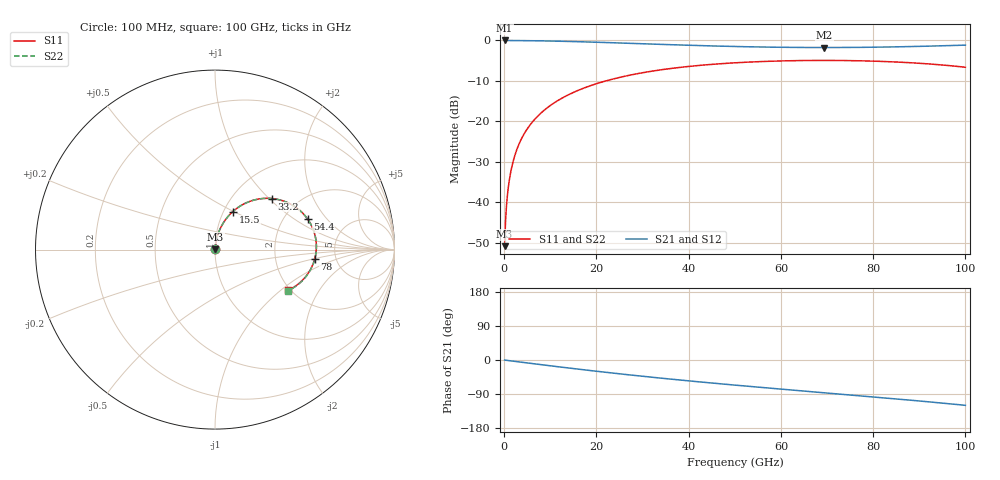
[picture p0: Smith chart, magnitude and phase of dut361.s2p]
! Touchstone file exported from HFSS 2026.1.0
!  File:  C:/ffzhzh/LocalFiles/Ansys_Project_Files/temp_train_RDL_361_1783503389_55944.aedt
!  Generated:  05:37:41 PM Jul  8, 2026
!  Design:  RDL
!  Project:  temp_train_RDL_361_1783503389_55944
! Variables:
!  h_bsmrdl = 2um
!  h_ox = 20um
!  h_rdl = 5um
!  h_sub = 80um
!  h_tmrdl = 3.01um
!  h_tsv = 80um
!  h_via = 3um
!  l_bsmrdl = 300um
!  l_sub = 796.43um
!  l_tmrdl = 396.43um
!  m_sub = 200um
!  pitch = 52.19um
!  r_tsv = 6um
!  s_tmrdl = 10um
!  w_bsmrdl = 18um
!  w_sub = 500um
!  w_tmrdl = 23.51um
!  x_tsv_center1 = 408.185um
!  x_tsv_center2 = 726.185um
!  x_tsv_center3 = 1146.125um
!  x_tsv_center4 = 1464.125um
!  x_tsv_center5 = 1884.065um
!  x_tsv_center6 = 2202.065um
# GHz S MA R 50.000000
! Terminal data exported
! Port[1] = TM_RDL1_1_T1
! Port[2] = TM_RDL1_1_T2
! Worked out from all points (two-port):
!   1000 points, 100 MHz to 100 GHz, reference 50 ohm
!   highest |S21| = -0.02 dB at 100 MHz (marker M1); lowest = -1.8 dB at 69.4 GHz (marker M2)
!   |S21| within 3 dB of the highest: start of sweep to end of sweep
!   lowest |S11| = -50.9 dB at 100 MHz (marker M3), VSWR 1.01, Z = 50.2 + j0.179 ohm
!   |S11| at or under -10 dB: start of sweep to 22.13 GHz
!   |S22| runs from -50.9 to -5.0 dB; largest |S21 - S12| = 1.5e-14
!   S11 on the Smith chart (normalised r, x): 100 MHz: 1.00, +0.00; 15.5 GHz: 1.10, +0.49; 33.2 GHz: 1.49, +1.04; 54.4 GHz: 2.67, +1.30; 78 GHz: 3.43, -0.54; 100 GHz: 1.94, -1.12
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0.1  0.00285 38.7  0.9978 -0.2  0.9978 -0.2  0.00285 38.7
! Gamma 0 0 0 0
! Port Impedance 50 0 50 0
0.4  0.007311 69.1  0.9974 -0.6  0.9974 -0.6  0.007311 69.1
0.8  0.01357 76.9  0.9971 -1.3  0.9971 -1.3  0.01357 76.9
1.1  0.01831 79.2  0.997 -1.7  0.997 -1.7  0.01831 79.2
1.4  0.02308 80.5  0.9968 -2.2  0.9968 -2.2  0.02308 80.5
2.4  0.03906 81.6  0.9961 -3.7  0.9961 -3.7  0.03906 81.6
3.8  0.06138 80.8  0.9946 -5.9  0.9946 -5.9  0.06138 80.8
5.8  0.09281 78.5  0.9916 -9.0  0.9916 -9.0  0.09282 78.5
8.3  0.1311 75.1  0.9864 -12.8  0.9864 -12.8  0.1311 75.0
11.5  0.1782 70.5  0.9779 -17.5  0.9779 -17.5  0.1782 70.5
15.5  0.2336 64.9  0.9652 -23.3  0.9652 -23.3  0.2336 64.9
16.8  0.2508 63.1  0.9607 -25.2  0.9607 -25.2  0.2508 63.1
24.1  0.3384 53.4  0.9325 -35.2  0.9325 -35.2  0.3384 53.3
33.2  0.4259 41.9  0.8956 -46.9  0.8956 -46.9  0.426 41.9
33.4  0.4276 41.7  0.8949 -47.2  0.8949 -47.2  0.4277 41.6
50.1  0.5282 22.8  0.8398 -66.3  0.8398 -66.3  0.5284 22.7
54.4  0.5432 18.3  0.8303 -70.9  0.8303 -70.9  0.5434 18.2
66.7  0.5646 5.8  0.8161 -83.7  0.8161 -83.7  0.5648 5.6
69.4  0.5653 3.1  0.8157 -86.4  0.8157 -86.4  0.5655 2.9
78  0.5577 -5.6  0.8205 -95.3  0.8205 -95.3  0.5579 -5.8
83.4  0.5451 -11.2  0.8285 -101.0  0.8285 -101.0  0.5454 -11.4
100  0.4649 -29.2  0.8736 -119.6  0.8736 -119.6  0.4652 -29.7
